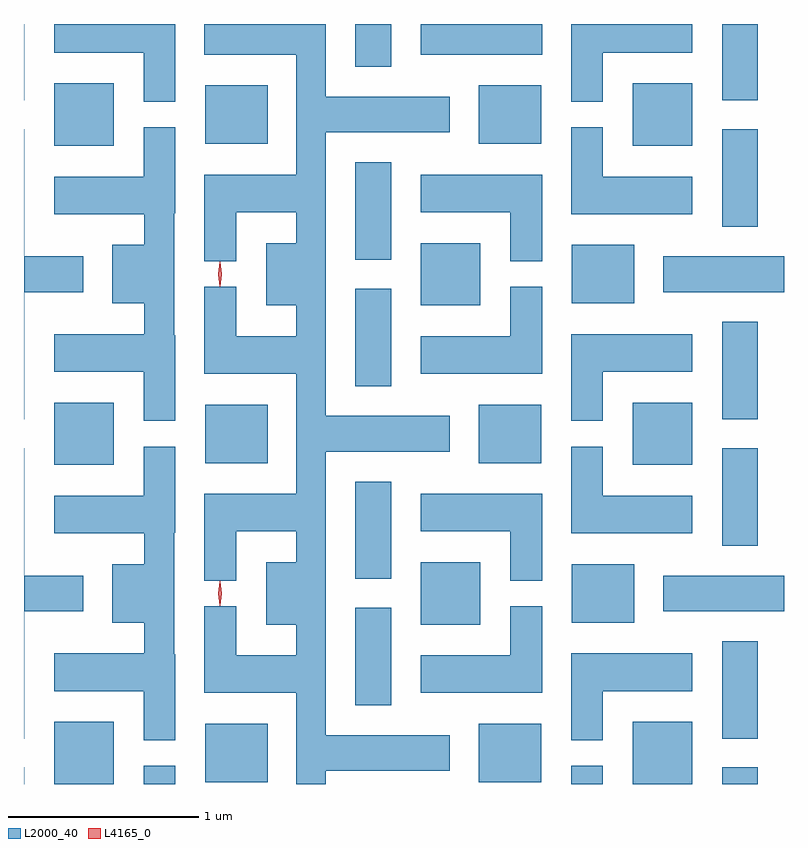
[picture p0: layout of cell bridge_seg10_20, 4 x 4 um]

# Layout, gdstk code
import gdstk
lib = gdstk.Library(unit=1e-6, precision=1e-09)
def R(c, l, rs):  # rectangles x0, y0, x1, y1
    for r in rs: c.add(gdstk.rectangle(r[:2], r[2:], *l))
def A(c, l, x, y, w, h, nx, ny, dx, dy):  # array of equal rectangles
    R(c, l, [(x+i*dx, y+j*dy, x+i*dx+w, y+j*dy+h) for i in range(nx) for j in range(ny)])
def P(c, l, *ps):  # polygons
    for p in ps: c.add(gdstk.Polygon(p, *l))
L2000_40 = (2000, 40)
L4165_0 = (4165, 0)

bridge_seg10_20 = lib.new_cell('bridge_seg10_20')
A(bridge_seg10_20, L2000_40, 1787.586, 2164.816, 0.328, 0.308, 1, 3, 0, 1.68)
A(bridge_seg10_20, L2000_40, 1789.026, 2164.816, 0.328, 0.308, 1, 3, 0, 1.68)
R(bridge_seg10_20, L2000_40, [(1786.632,2164.807,1786.634,2164.894), (1786.791,2164.807,1787.104,2165.134), (1787.261,2164.807,1787.429,2164.903), (1789.511,2164.807,1789.679,2164.903), (1789.836,2164.807,1790.149,2165.134), (1790.306,2164.807,1790.494,2164.894), (1790.306,2165.046,1790.494,2165.559), (1788.376,2165.221,1788.564,2165.734), (1788.721,2165.646,1789.034,2165.974), (1789.516,2165.656,1789.844,2165.964), (1789.996,2165.716,1790.632,2165.904), (1788.376,2165.886,1788.564,2166.399), (1790.306,2166.061,1790.494,2166.574), (1786.791,2166.486,1787.104,2166.814), (1789.836,2166.486,1790.149,2166.814), (1790.306,2166.726,1790.494,2167.239), (1788.376,2166.901,1788.564,2167.414), (1788.721,2167.326,1789.034,2167.654), (1789.516,2167.336,1789.844,2167.644), (1789.996,2167.396,1790.632,2167.584), (1788.376,2167.566,1788.564,2168.079), (1790.306,2167.741,1790.494,2168.254), (1786.791,2168.166,1787.104,2168.494), (1789.836,2168.166,1790.149,2168.494), (1786.632,2168.406,1786.634,2168.807), (1790.306,2168.406,1790.494,2168.807), (1788.376,2168.581,1788.564,2168.807), (1788.721,2168.646,1789.359,2168.807)])
P(bridge_seg10_20, L2000_40, [(1788.066,2167.326),(1788.066,2167.164),(1787.749,2167.164),(1787.749,2167.423),(1787.581,2167.423),(1787.581,2166.966),(1788.066,2166.966),(1788.066,2166.334),(1787.581,2166.334),(1787.581,2165.878),(1787.749,2165.878),(1787.749,2166.136),(1788.066,2166.136),(1788.066,2165.974),(1787.906,2165.974),(1787.906,2165.646),(1788.066,2165.646),(1788.066,2165.484),(1787.749,2165.484),(1787.749,2165.743),(1787.581,2165.743),(1787.581,2165.286),(1788.066,2165.286),(1788.066,2164.807),(1788.219,2164.807),(1788.219,2164.876),(1788.874,2164.876),(1788.874,2165.064),(1788.219,2165.064),(1788.219,2166.556),(1788.874,2166.556),(1788.874,2166.744),(1788.219,2166.744),(1788.219,2168.236),(1788.874,2168.236),(1788.874,2168.424),(1788.219,2168.424),(1788.219,2168.807),(1787.581,2168.807),(1787.581,2168.646),(1788.066,2168.646),(1788.066,2168.014),(1787.581,2168.014),(1787.581,2167.558),(1787.749,2167.558),(1787.749,2167.816),(1788.066,2167.816),(1788.066,2167.654),(1787.906,2167.654),(1787.906,2167.326)],
  [(1787.429,2168.807),(1786.791,2168.807),(1786.791,2168.656),(1787.261,2168.656),(1787.261,2168.398),(1787.429,2168.398)],
  [(1789.679,2168.656),(1790.149,2168.656),(1790.149,2168.807),(1789.511,2168.807),(1789.511,2168.398),(1789.679,2168.398)],
  [(1787.429,2167.17),(1787.424,2167.17),(1787.424,2167.81),(1787.429,2167.81),(1787.429,2168.263),(1787.261,2168.263),(1787.261,2168.004),(1786.791,2168.004),(1786.791,2167.806),(1787.266,2167.806),(1787.266,2167.644),(1787.096,2167.644),(1787.096,2167.336),(1787.266,2167.336),(1787.266,2167.174),(1786.791,2167.174),(1786.791,2166.976),(1787.261,2166.976),(1787.261,2166.718),(1787.429,2166.718)],
  [(1790.149,2168.004),(1789.679,2168.004),(1789.679,2168.263),(1789.511,2168.263),(1789.511,2167.806),(1790.149,2167.806)],
  [(1786.634,2167.396),(1786.944,2167.396),(1786.944,2167.584),(1786.634,2167.584),(1786.634,2168.254),(1786.632,2168.254),(1786.632,2166.726),(1786.634,2166.726)],
  [(1789.359,2168.014),(1788.721,2168.014),(1788.721,2167.816),(1789.191,2167.816),(1789.191,2167.558),(1789.359,2167.558)],
  [(1789.359,2167.423),(1789.191,2167.423),(1789.191,2167.164),(1788.721,2167.164),(1788.721,2166.966),(1789.359,2166.966)],
  [(1789.679,2166.976),(1790.149,2166.976),(1790.149,2167.174),(1789.511,2167.174),(1789.511,2166.718),(1789.679,2166.718)],
  [(1790.149,2166.324),(1789.679,2166.324),(1789.679,2166.583),(1789.511,2166.583),(1789.511,2166.126),(1790.149,2166.126)],
  [(1787.429,2165.49),(1787.424,2165.49),(1787.424,2166.13),(1787.429,2166.13),(1787.429,2166.583),(1787.261,2166.583),(1787.261,2166.324),(1786.791,2166.324),(1786.791,2166.126),(1787.266,2166.126),(1787.266,2165.964),(1787.096,2165.964),(1787.096,2165.656),(1787.266,2165.656),(1787.266,2165.494),(1786.791,2165.494),(1786.791,2165.296),(1787.261,2165.296),(1787.261,2165.038),(1787.429,2165.038)],
  [(1786.634,2165.716),(1786.944,2165.716),(1786.944,2165.904),(1786.634,2165.904),(1786.634,2166.574),(1786.632,2166.574),(1786.632,2165.046),(1786.634,2165.046)],
  [(1789.359,2166.334),(1788.721,2166.334),(1788.721,2166.136),(1789.191,2166.136),(1789.191,2165.878),(1789.359,2165.878)],
  [(1789.359,2165.743),(1789.191,2165.743),(1789.191,2165.484),(1788.721,2165.484),(1788.721,2165.286),(1789.359,2165.286)],
  [(1789.679,2165.296),(1790.149,2165.296),(1790.149,2165.494),(1789.511,2165.494),(1789.511,2165.038),(1789.679,2165.038)])
P(bridge_seg10_20, L4165_0, [(1787.664,2165.744),(1787.663,2165.745),(1787.654,2165.81),(1787.663,2165.875),(1787.664,2165.876),(1787.664,2165.875),(1787.674,2165.81),(1787.664,2165.745)],
  [(1787.664,2167.424),(1787.663,2167.425),(1787.654,2167.49),(1787.663,2167.555),(1787.664,2167.556),(1787.664,2167.555),(1787.674,2167.49),(1787.664,2167.425)])

lib.write_gds('bridge_seg10_20.gds')
